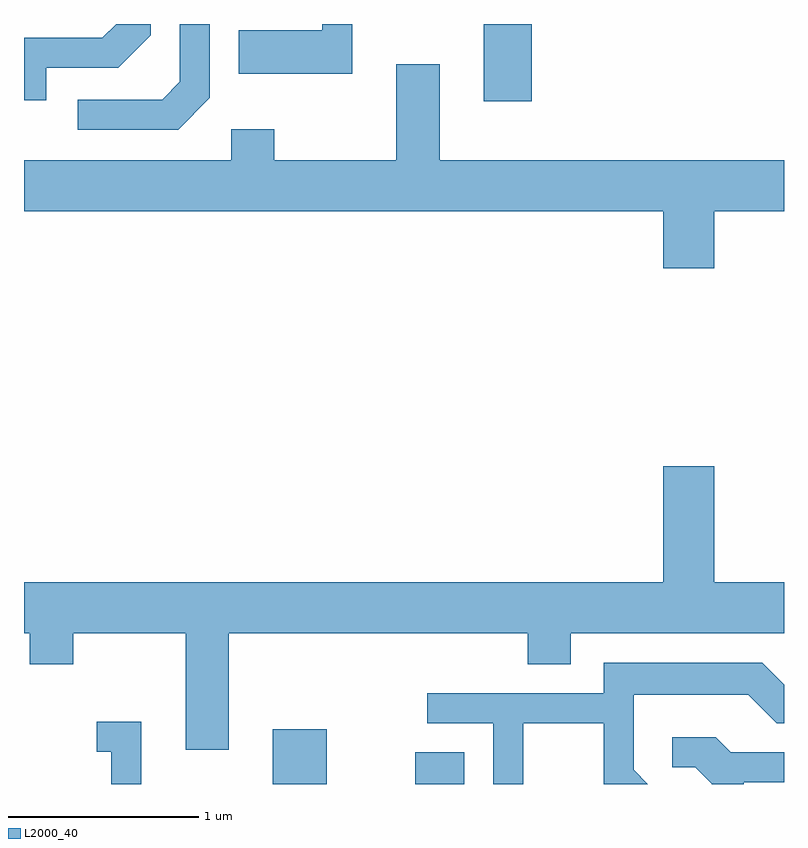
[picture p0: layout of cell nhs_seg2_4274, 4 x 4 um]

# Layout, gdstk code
import gdstk
lib = gdstk.Library(unit=1e-6, precision=1e-09)
def R(c, l, rs):  # rectangles x0, y0, x1, y1
    for r in rs: c.add(gdstk.rectangle(r[:2], r[2:], *l))
def P(c, l, *ps):  # polygons
    for p in ps: c.add(gdstk.Polygon(p, *l))
L2000_40 = (2000, 40)

nhs_seg2_4274 = lib.new_cell('nhs_seg2_4274')
R(nhs_seg2_4274, L2000_40, [(312.921,989.802,313.204,990.089), (313.671,989.802,313.929,989.969), (314.031,993.396,314.284,993.802)])
P(nhs_seg2_4274, L2000_40, [(311.729,993.571),(312.107,993.571),(312.279,993.744),(312.279,993.802),(312.096,993.802),(312.024,993.729),(311.611,993.729),(311.611,993.401),(311.729,993.401)],
  [(312.589,993.414),(312.589,993.802),(312.431,993.802),(312.431,993.497),(312.339,993.404),(311.893,993.404),(311.893,993.246),(312.422,993.246)],
  [(313.339,993.802),(313.181,993.802),(313.181,993.769),(312.741,993.769),(312.741,993.541),(313.339,993.541)],
  [(315.244,992.816),(315.611,992.816),(315.611,993.084),(313.799,993.084),(313.799,993.589),(313.571,993.589),(313.571,993.084),(312.929,993.084),(312.929,993.249),(312.701,993.249),(312.701,993.084),(311.611,993.084),(311.611,992.816),(314.976,992.816),(314.976,992.516),(315.244,992.516)],
  [(312.689,990.596),(314.261,990.596),(314.261,990.431),(314.489,990.431),(314.489,990.596),(315.611,990.596),(315.611,990.864),(315.244,990.864),(315.244,991.474),(314.976,991.474),(314.976,990.864),(311.611,990.864),(311.611,990.596),(311.641,990.596),(311.641,990.431),(311.869,990.431),(311.869,990.596),(312.461,990.596),(312.461,989.981),(312.689,989.981)],
  [(314.239,990.121),(314.661,990.121),(314.661,989.804),(314.663,989.802),(314.894,989.802),(314.819,989.877),(314.819,990.271),(315.424,990.271),(315.574,990.121),(315.611,990.121),(315.611,990.325),(315.497,990.439),(314.661,990.439),(314.661,990.279),(313.733,990.279),(313.733,990.121),(314.081,990.121),(314.081,989.802),(314.239,989.802)],
  [(312.229,990.129),(311.993,990.129),(311.993,989.971),(312.071,989.971),(312.071,989.802),(312.229,989.802)],
  [(315.399,989.811),(315.611,989.811),(315.611,989.969),(315.332,989.969),(315.252,990.049),(315.023,990.049),(315.023,989.891),(315.144,989.891),(315.231,989.804),(315.231,989.802),(315.399,989.802)])

lib.write_gds('nhs_seg2_4274.gds')
